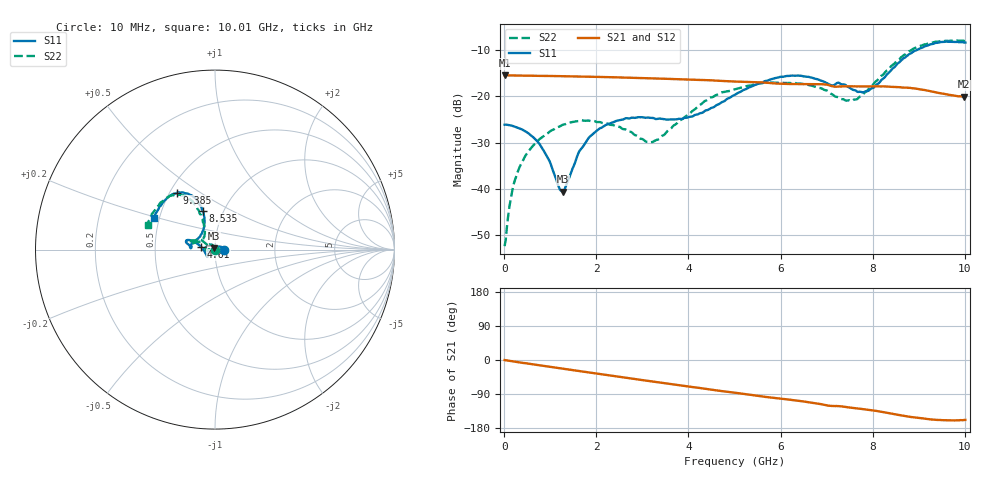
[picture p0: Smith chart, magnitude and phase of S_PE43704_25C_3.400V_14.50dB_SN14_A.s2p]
! Device ID: PE43704
! Dir: z:\PE43704\PE43704_Char_1_20130516\PE43704\AMB\3p400V\14p50dB
! Serial: 14
! Insertion: A
! Impedance: 50 ohm
! Temp: Amb
! VDD: 3.400V
! Attenuation Step: 14.50dB
! IDD: 1.139731e-01mA
#  Hz  S  RI  R  50
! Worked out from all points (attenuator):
!   401 points, 10 MHz to 10.01 GHz, reference 50 ohm
!   highest |S21| = -15.44 dB at 10 MHz (marker M1); lowest = -20.1 dB at 9.985 GHz (marker M2)
!   lowest |S11| = -40.6 dB at 1.285 GHz (marker M3), VSWR 1.02, Z = 49.4 + j0.741 ohm
!   |S11| at or under -10 dB: start of sweep to 8.945 GHz
!   |S22| runs from -52.5 to -7.9 dB; largest |S21 - S12| = 0.0011
!   S11 on the Smith chart (normalised r, x): 10 MHz: 1.10, +0.00; 4.61 GHz: 0.85, +0.03; 8.535 GHz: 0.80, +0.36; 9.385 GHz: 0.54, +0.40; 10.01 GHz: 0.47, +0.19
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1e7  0.0493 0.000199  0.169 -0.000571  0.1691 -0.00053  -0.00232 0.000544
1.85e8  0.0475 0.00564  0.1682 -0.0102  0.1682 -0.0102  -0.00252 0.00973
3.85e8  0.0425 0.011  0.1669 -0.0211  0.1665 -0.021  -0.0061 0.0181
7.85e8  0.024 0.0172  0.1619 -0.0411  0.1619 -0.041  -0.0204 0.0283
1.21e9  -0.00105 0.00971  0.1539 -0.0615  0.154 -0.0615  -0.0397 0.0259
1.285e9  -0.00548 0.0075  0.1523 -0.065  0.1523 -0.0649  -0.0431 0.0242
1.685e9  -0.0261 -0.0086  0.142 -0.0825  0.142 -0.0824  -0.0537 0.0117
2.385e9  -0.041 -0.0334  0.1192 -0.1086  0.1192 -0.1086  -0.0483 -0.00346
3.11e9  -0.0441 -0.0391  0.0908 -0.1289  0.0909 -0.1288  -0.0317 0.00549
3.36e9  -0.0461 -0.0344  0.08 -0.134  0.0803 -0.134  -0.0318 0.0134
4.035e9  -0.0595 -0.00931  0.0506 -0.1431  0.0509 -0.1432  -0.0548 0.0363
4.61e9  -0.0789 0.0161  0.0252 -0.1462  0.0256 -0.146  -0.0872 0.0565
5.01e9  -0.0988 0.0332  0.00903 -0.1447  0.0092 -0.1448  -0.1074 0.0524
5.96e9  -0.1518 0.0539  -0.0272 -0.1348  -0.0271 -0.1347  -0.1346 0.0403
6.685e9  -0.156 0.0342  -0.0526 -0.1256  -0.0526 -0.1255  -0.1259 0.0333
7.56e9  -0.1071 0.0506  -0.0761 -0.1037  -0.0761 -0.1035  -0.0635 0.0642
7.885e9  -0.076 0.0854  -0.0846 -0.0964  -0.0843 -0.0968  -0.0562 0.1016
8.36e9  -0.0592 0.1732  -0.0982 -0.0811  -0.0979 -0.0817  -0.0769 0.1866
8.535e9  -0.0689 0.2154  -0.1023 -0.0735  -0.1017 -0.0742  -0.0973 0.226
9.385e9  -0.2138 0.3153  -0.102 -0.0414  -0.1026 -0.0411  -0.2588 0.293
9.985e9  -0.336 0.1838  -0.0921 -0.0368  -0.0929 -0.0366  -0.3717 0.1449
1.001e10  -0.3418 0.1737  -0.0929 -0.0373  -0.0935 -0.0371  -0.3755 0.136
